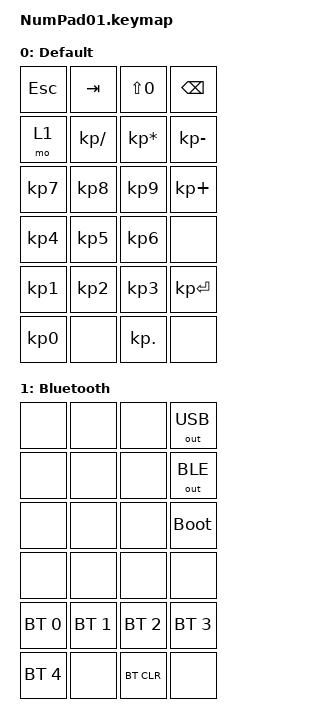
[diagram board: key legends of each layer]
/*
 * Copyright (c) 2022 The ZMK Contributors
 *
 * SPDX-License-Identifier: MIT
 */

#include <behaviors.dtsi>
#include <dt-bindings/zmk/keys.h>
#include <dt-bindings/zmk/bt.h>
#include <dt-bindings/zmk/outputs.h>

/ {
    keymap {
        compatible = "zmk,keymap";

        default_layer {
            bindings = <
                &kp ESC        &kp TAB       &kp LS(N0)      &kp BSPC
                &mo 1          &kp KP_SLASH  &kp KP_ASTERISK &kp KP_MINUS
                &kp KP_N7      &kp KP_N8     &kp KP_N9       &kp KP_PLUS
                &kp KP_N4      &kp KP_N5     &kp KP_N6       &none
                &kp KP_N1      &kp KP_N2     &kp KP_N3       &kp KP_ENTER
                &kp KP_N0      &none         &kp KP_DOT      &none
            >;
            label = "Default";
        };

        bt_layer {
            bindings = <
                &none          &none          &none           &out OUT_USB
                &none          &none          &none           &out OUT_BLE
                &none          &none          &none           &bootloader
                &none          &none          &none           &none
                &bt BT_SEL 0   &bt BT_SEL 1   &bt BT_SEL 2    &bt BT_SEL 3
                &bt BT_SEL 4   &none          &bt BT_CLR      &none
            >;
            label = "Bluetooth";
        };
    };
};
